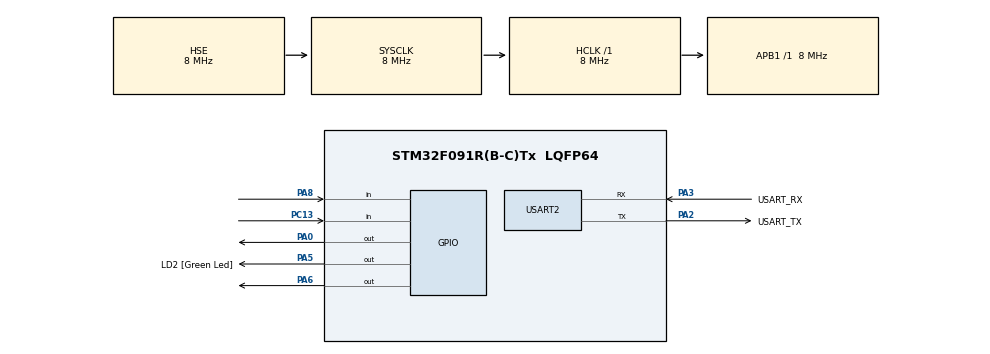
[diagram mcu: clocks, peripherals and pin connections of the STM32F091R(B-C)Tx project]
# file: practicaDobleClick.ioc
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Mcu.Family=STM32F0
Mcu.Name=STM32F091R(B-C)Tx
Mcu.Package=LQFP64
PA0.Signal=GPIO_Output
PA13.GPIO_Label=TMS
PA13.Mode=Serial_Wire
PA13.Signal=SYS_SWDIO
PA14.GPIO_Label=TCK
PA14.Mode=Serial_Wire
PA14.Signal=SYS_SWCLK
PA2.GPIO_Label=USART_TX
PA2.GPIO_Mode=GPIO_MODE_AF_PP
PA2.GPIO_PuPd=GPIO_NOPULL
PA2.GPIO_Speed=GPIO_SPEED_FREQ_LOW
PA2.Mode=Asynchronous
PA2.Signal=USART2_TX
PA3.GPIO_Label=USART_RX
PA3.GPIO_Mode=GPIO_MODE_AF_PP
PA3.GPIO_PuPd=GPIO_NOPULL
PA3.GPIO_Speed=GPIO_SPEED_FREQ_LOW
PA3.Mode=Asynchronous
PA3.Signal=USART2_RX
PA5.GPIO_Label=LD2 [Green Led]
PA5.GPIO_Mode=GPIO_MODE_OUTPUT_PP
PA5.GPIO_PuPd=GPIO_NOPULL
PA5.GPIO_Speed=GPIO_SPEED_FREQ_LOW
PA5.Signal=GPIO_Output
PA6.Signal=GPIO_Output
PA8.GPIO_PuPd=GPIO_PULLUP
PA8.Signal=GPIO_Input
PC13.Signal=GPIO_Input
PC14OSC32_IN.Mode=LSE-External-Oscillator
PC14OSC32_IN.Signal=RCC_OSC32_IN
PC15OSC32_OUT.Mode=LSE-External-Oscillator
PC15OSC32_OUT.Signal=RCC_OSC32_OUT
PF0-OSC_IN.Mode=HSE-External-Clock-Source
PF0-OSC_IN.Signal=RCC_OSC_IN
PF1-OSC_OUT.Signal=RCC_OSC_OUT
ProjectManager.HeapSize=0x200
ProjectManager.StackSize=0x400
ProjectManager.TargetToolchain=CMake
RCC.AHBFreq_Value=8000000
RCC.APB1Freq_Value=8000000
RCC.APB1TimFreq_Value=8000000
RCC.FLatency-AdvancedSettings=FLASH_LATENCY_0
RCC.HCLKFreq_Value=8000000
RCC.PLLDivider=RCC_PREDIV_DIV2
RCC.PLLMUL=RCC_PLL_MUL12
RCC.PREFETCH_ENABLE-AdvancedSettings=1
RCC.SYSCLKFreq_VALUE=8000000
RCC.SYSCLKSource=RCC_SYSCLKSOURCE_HSE
USART2.VirtualMode=VM_ASYNC
USART2.VirtualMode-Asynchronous=VM_ASYNC
board=NUCLEO-F091RC

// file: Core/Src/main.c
/* USER CODE BEGIN Header */
/**
  ******************************************************************************
  * @file           : main.c
  * @brief          : Main program body
  ******************************************************************************
  * @attention
  *
  * Copyright (c) 2026 STMicroelectronics.
  * All rights reserved.
  *
  * This software is licensed under terms that can be found in the LICENSE file
  * in the root directory of this software component.
  * If no LICENSE file comes with this software, it is provided AS-IS.
  *
  ******************************************************************************
  */
/* USER CODE END Header */
#include "main.h"
#include "stm32f0xx_hal.h"
#include <stdint.h>

UART_HandleTypeDef huart2;

void SystemClock_Config(void);
static void MX_GPIO_Init(void);
static void MX_USART2_UART_Init(void);

int main(void)
{

  /* USER CODE BEGIN 1 */
  uint8_t cont = 0;
  uint16_t ventana = 0;
  /* USER CODE END 1 */

  /* MCU Configuration--------------------------------------------------------*/

  /* Reset of all peripherals, Initializes the Flash interface and the Systick. */
  HAL_Init();

  /* Configure the system clock */
  SystemClock_Config();

  /* Initialize all configured peripherals */
  MX_GPIO_Init();
  MX_USART2_UART_Init();

  /* Infinite loop */
  /* USER CODE BEGIN WHILE */
  while (1)
  {
    cont = 0;
    ventana = 0;
    while(((GPIOC->IDR & (1UL << 13)) != 0) && ((GPIOA->IDR & (1UL << 8)) != 0) );//Mientras no se pulse el botón
    if(((GPIOA->IDR & (1UL << 8)) != 0)){
      if((GPIOC->IDR & (1UL << 13)) == 0){
        cont++;
        while((GPIOC->IDR & (1UL << 13)) == 0);
        while((GPIOC->IDR & (1UL << 13)) != 0){//Contamos el tiempo que pasa entre pulsaciones
          HAL_Delay(1);
          ventana++;
          if(ventana >= 400){
            break;
          }
        }
        if(((GPIOC->IDR & (1UL << 13)) == 0) && ventana <= 400){//Si se cumple que volvemos a clicar en menos de 400ms
          cont++;
        }else{
          GPIOA->BSRR = (1UL << 16) | (1UL << 21) | (1UL << 6);
        }
      }
      if(cont == 2){
        GPIOA->BSRR = 1UL | (1UL << 5) | (1UL << 6);
        while((GPIOA->IDR & (1UL << 8)) != 0);
      }
    }else{
      GPIOA->BSRR = (1UL << 16) | (1UL << 21) | (1UL << 22);
      cont = 0;
      ventana = 0;
    }
    /* USER CODE END WHILE */

  }
}

void SystemClock_Config(void)
{
  RCC_OscInitTypeDef RCC_OscInitStruct = {0};
  RCC_ClkInitTypeDef RCC_ClkInitStruct = {0};
  RCC_PeriphCLKInitTypeDef PeriphClkInit = {0};

  /** Initializes the RCC Oscillators according to the specified parameters
  * in the RCC_OscInitTypeDef structure.
  */
  RCC_OscInitStruct.OscillatorType = RCC_OSCILLATORTYPE_HSE;
  RCC_OscInitStruct.HSEState = RCC_HSE_BYPASS;
  RCC_OscInitStruct.PLL.PLLState = RCC_PLL_NONE;
  if (HAL_RCC_OscConfig(&RCC_OscInitStruct) != HAL_OK)
  {
    Error_Handler();
  }

  /** Initializes the CPU, AHB and APB buses clocks
  */
  RCC_ClkInitStruct.ClockType = RCC_CLOCKTYPE_HCLK|RCC_CLOCKTYPE_SYSCLK
                              |RCC_CLOCKTYPE_PCLK1;
  RCC_ClkInitStruct.SYSCLKSource = RCC_SYSCLKSOURCE_HSE;
  RCC_ClkInitStruct.AHBCLKDivider = RCC_SYSCLK_DIV1;
  RCC_ClkInitStruct.APB1CLKDivider = RCC_HCLK_DIV1;

  if (HAL_RCC_ClockConfig(&RCC_ClkInitStruct, FLASH_LATENCY_0) != HAL_OK)
  {
    Error_Handler();
  }
  PeriphClkInit.PeriphClockSelection = RCC_PERIPHCLK_USART2;
  PeriphClkInit.Usart2ClockSelection = RCC_USART2CLKSOURCE_PCLK1;
  if (HAL_RCCEx_PeriphCLKConfig(&PeriphClkInit) != HAL_OK)
  {
    Error_Handler();
  }
}

static void MX_USART2_UART_Init(void)
{

  huart2.Instance = USART2;
  huart2.Init.BaudRate = 115200;
  huart2.Init.WordLength = UART_WORDLENGTH_8B;
  huart2.Init.StopBits = UART_STOPBITS_1;
  huart2.Init.Parity = UART_PARITY_NONE;
  huart2.Init.Mode = UART_MODE_TX_RX;
  huart2.Init.HwFlowCtl = UART_HWCONTROL_NONE;
  huart2.Init.OverSampling = UART_OVERSAMPLING_16;
  huart2.Init.OneBitSampling = UART_ONE_BIT_SAMPLE_DISABLE;
  huart2.AdvancedInit.AdvFeatureInit = UART_ADVFEATURE_NO_INIT;
  if (HAL_UART_Init(&huart2) != HAL_OK)
  {
    Error_Handler();
  }

}

static void MX_GPIO_Init(void)
{
  GPIO_InitTypeDef GPIO_InitStruct = {0};

  /* GPIO Ports Clock Enable */
  __HAL_RCC_GPIOC_CLK_ENABLE();
  __HAL_RCC_GPIOF_CLK_ENABLE();
  __HAL_RCC_GPIOA_CLK_ENABLE();

  /*Configure GPIO pin Output Level */
  HAL_GPIO_WritePin(GPIOA, GPIO_PIN_0|LD2_Pin|GPIO_PIN_6, GPIO_PIN_RESET);

  /*Configure GPIO pin : PC13 */
  GPIO_InitStruct.Pin = GPIO_PIN_13;
  GPIO_InitStruct.Mode = GPIO_MODE_INPUT;
  GPIO_InitStruct.Pull = GPIO_NOPULL;
  HAL_GPIO_Init(GPIOC, &GPIO_InitStruct);

  /*Configure GPIO pins : PA0 LD2_Pin PA6 */
  GPIO_InitStruct.Pin = GPIO_PIN_0|LD2_Pin|GPIO_PIN_6;
  GPIO_InitStruct.Mode = GPIO_MODE_OUTPUT_PP;
  GPIO_InitStruct.Pull = GPIO_NOPULL;
  GPIO_InitStruct.Speed = GPIO_SPEED_FREQ_LOW;
  HAL_GPIO_Init(GPIOA, &GPIO_InitStruct);

  /*Configure GPIO pin : PA8 */
  GPIO_InitStruct.Pin = GPIO_PIN_8;
  GPIO_InitStruct.Mode = GPIO_MODE_INPUT;
  GPIO_InitStruct.Pull = GPIO_PULLUP;
  HAL_GPIO_Init(GPIOA, &GPIO_InitStruct);

}

void Error_Handler(void)
{
  __disable_irq();
  while (1)
  {
  }
}
